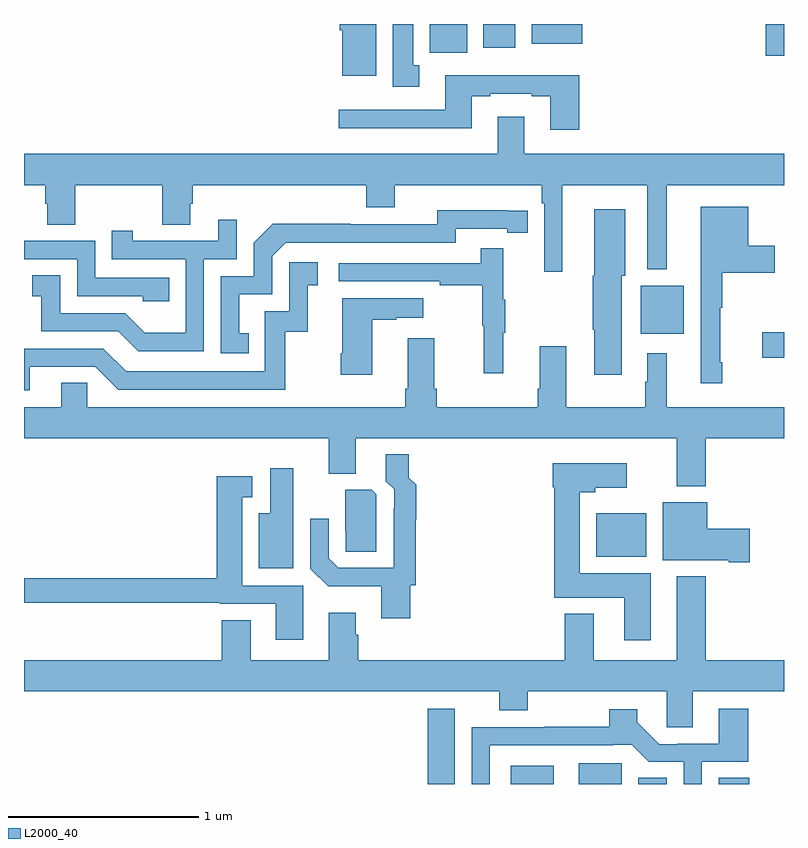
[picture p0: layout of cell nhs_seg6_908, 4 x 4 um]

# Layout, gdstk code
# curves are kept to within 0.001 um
import gdstk
lib = gdstk.Library(unit=1e-6, precision=1e-09)
def R(c, l, rs):  # rectangles x0, y0, x1, y1
    for r in rs: c.add(gdstk.rectangle(r[:2], r[2:], *l))
def P(c, l, *ps):  # polygons
    for p in ps: c.add(gdstk.Polygon(p, *l))
L2000_40 = (2000, 40)

nhs_seg6_908 = lib.new_cell('nhs_seg6_908')
R(nhs_seg6_908, L2000_40, [(169.124,961.5,169.267,961.897), (169.562,961.5,169.789,961.597), (169.919,961.5,170.146,961.609), (170.234,961.5,170.383,961.532), (170.657,961.5,170.818,961.532), (170.012,962.696,170.275,962.926), (170.886,963.743,171,963.878), (170.246,963.869,170.473,964.123), (170.904,965.333,171,965.5), (169.136,965.348,169.333,965.5), (169.418,965.376,169.585,965.5), (169.673,965.396,169.937,965.5)])
P(nhs_seg6_908, L2000_40, [(169.081,965.282),(169.048,965.282),(169.048,965.5),(168.941,965.5),(168.941,965.169),(169.081,965.169)],
  [(168.853,965.5),(168.662,965.5),(168.662,965.468),(168.674,965.468),(168.674,965.228),(168.853,965.228)],
  [(169.922,965.23),(169.217,965.23),(169.217,965.049),(168.657,965.049),(168.657,964.952),(169.357,964.952),(169.357,965.121),(169.453,965.121),(169.453,965.133),(169.673,965.133),(169.673,965.121),(169.769,965.121),(169.769,964.944),(169.922,964.944)],
  [(169.834,964.652),(170.279,964.652),(170.279,964.208),(170.383,964.208),(170.383,964.652),(171,964.652),(171,964.816),(169.633,964.816),(169.633,965.011),(169.493,965.011),(169.493,964.816),(167,964.816),(167,964.652),(167.111,964.652),(167.111,964.554),(167.123,964.554),(167.123,964.444),(167.271,964.444),(167.271,964.652),(167.728,964.652),(167.728,964.444),(167.875,964.444),(167.875,964.554),(167.888,964.554),(167.888,964.652),(168.8,964.652),(168.8,964.535),(168.952,964.535),(168.952,964.652),(169.724,964.652),(169.724,964.556),(169.737,964.556),(169.737,964.197),(169.834,964.197)],
  [(170.675,963.721),(170.665,963.721),(170.665,964.006),(170.675,964.006),(170.675,964.19),(170.95,964.19),(170.95,964.332),(170.812,964.332),(170.812,964.537),(170.561,964.537),(170.561,963.609),(170.675,963.609)],
  [(170.146,964.176),(170.164,964.176),(170.164,964.525),(170,964.525),(170,964.176),(169.993,964.176),(169.993,963.892),(170,963.892),(170,963.654),(170.146,963.654)],
  [(168.182,963.873),(168.133,963.873),(168.133,964.077),(168.306,964.077),(168.306,964.278),(168.378,964.35),(169.272,964.35),(169.272,964.422),(169.544,964.422),(169.544,964.402),(169.652,964.402),(169.652,964.518),(169.176,964.519),(169.176,964.446),(168.716,964.446),(168.716,964.448),(168.308,964.448),(168.21,964.35),(168.21,964.173),(168.036,964.173),(168.036,963.768),(168.182,963.768)],
  [(167.946,964.263),(168.12,964.263),(168.12,964.471),(168.023,964.471),(168.023,964.359),(167.572,964.359),(167.572,964.411),(167.461,964.411),(167.461,964.263),(167.85,964.263),(167.85,963.874),(167.636,963.874),(167.532,963.978),(167.19,963.978),(167.19,964.177),(167.043,964.177),(167.043,964.067),(167.092,964.067),(167.092,963.882),(167.495,963.882),(167.6,963.777),(167.946,963.777)],
  [(167.765,964.164),(167.376,964.164),(167.376,964.359),(167,964.359),(167,964.263),(167.28,964.263),(167.28,964.068),(167.625,964.068),(167.625,964.041),(167.765,964.041)],
  [(169.523,963.875),(169.534,963.875),(169.534,964.049),(169.523,964.049),(169.523,964.321),(169.405,964.321),(169.405,964.242),(168.657,964.242),(168.657,964.146),(169.189,964.146),(169.189,964.126),(169.413,964.126),(169.413,963.912),(169.42,963.912),(169.42,963.663),(169.523,963.663)],
  [(167.029,963.696),(167.376,963.696),(167.496,963.576),(168.376,963.576),(168.376,963.879),(168.494,963.879),(168.494,964.125),(168.547,964.125),(168.547,964.246),(168.396,964.246),(168.396,963.987),(168.267,963.987),(168.267,963.672),(167.538,963.672),(167.418,963.792),(167,963.792),(167,963.573),(167.029,963.573)],
  [(168.832,963.943),(168.959,963.943),(168.959,963.953),(169.102,963.953),(169.102,964.057),(168.674,964.057),(168.674,963.766),(168.667,963.766),(168.667,963.654),(168.832,963.654)],
  [(170.588,963.32),(171,963.32),(171,963.484),(170.383,963.484),(170.383,963.766),(170.279,963.766),(170.279,963.617),(170.269,963.617),(170.269,963.484),(169.855,963.484),(169.855,963.805),(169.715,963.805),(169.715,963.58),(169.703,963.58),(169.703,963.484),(169.172,963.484),(169.172,963.58),(169.159,963.58),(169.159,963.847),(169.019,963.847),(169.019,963.58),(169.007,963.58),(169.007,963.484),(167.334,963.484),(167.334,963.611),(167.195,963.611),(167.195,963.484),(167,963.484),(167,963.32),(168.605,963.32),(168.605,963.133),(168.745,963.133),(168.745,963.32),(170.435,963.32),(170.435,963.068),(170.588,963.068)],
  [(169.034,962.547),(169.061,962.547),(169.061,962.89),(169.064,962.89),(169.064,963.074),(169.025,963.112),(169.025,963.235),(168.905,963.235),(168.905,963.094),(168.948,963.051),(168.948,962.951),(168.945,962.951),(168.945,962.637),(168.654,962.637),(168.603,962.688),(168.603,962.896),(168.507,962.896),(168.507,962.634),(168.601,962.54),(168.881,962.54),(168.881,962.373),(169.034,962.373)],
  [(170.299,962.608),(169.924,962.608),(169.924,963.035),(170.007,963.035),(170.007,963.059),(170.173,963.059),(170.173,963.187),(169.784,963.187),(169.784,963.063),(169.79,963.063),(169.79,962.48),(170.159,962.48),(170.159,962.256),(170.299,962.256)],
  [(168.418,963.163),(168.296,963.163),(168.296,962.926),(168.236,962.926),(168.236,962.636),(168.418,962.636)],
  [(168.469,962.544),(168.148,962.544),(168.148,963.008),(168.202,963.008),(168.202,963.121),(168.014,963.121),(168.014,962.582),(167,962.582),(167,962.454),(168.03,962.454),(168.03,962.448),(168.326,962.448),(168.326,962.259),(168.469,962.259)],
  [(168.855,963.024),(168.831,963.048),(168.692,963.048),(168.692,962.833),(168.693,962.833),(168.693,962.722),(168.855,962.722)],
  [(170.821,962.844),(170.596,962.844),(170.596,962.983),(170.363,962.983),(170.363,962.678),(170.708,962.678),(170.708,962.666),(170.821,962.666)],
  [(170.521,961.988),(171,961.988),(171,962.152),(170.588,962.152),(170.588,962.593),(170.435,962.593),(170.435,962.152),(169.999,962.152),(169.999,962.395),(169.847,962.395),(169.847,962.152),(168.758,962.152),(168.758,962.285),(168.745,962.285),(168.745,962.401),(168.605,962.401),(168.605,962.152),(168.193,962.152),(168.193,962.363),(168.041,962.363),(168.041,962.152),(167,962.152),(167,961.988),(169.502,961.988),(169.502,961.889),(169.65,961.889),(169.65,961.988),(170.382,961.988),(170.382,961.798),(170.521,961.798)],
  [(169.452,961.703),(170.102,961.704),(170.102,961.707),(170.198,961.707),(170.288,961.617),(170.472,961.617),(170.472,961.5),(170.568,961.5),(170.568,961.617),(170.813,961.617),(170.813,961.897),(170.657,961.897),(170.657,961.713),(170.437,961.713),(170.437,961.71),(170.343,961.71),(170.227,961.826),(170.227,961.894),(170.08,961.894),(170.08,961.802),(169.738,961.802),(169.738,961.8),(169.356,961.8),(169.356,961.5),(169.452,961.5)])

lib.write_gds('nhs_seg6_908.gds')
